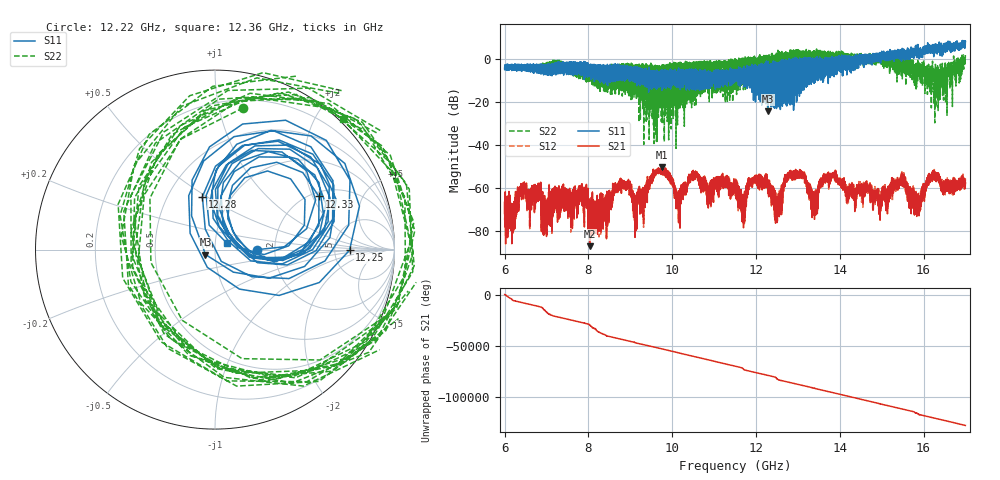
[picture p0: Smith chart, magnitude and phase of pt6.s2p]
#  HZ  S  RI  R  50.00
! Rohde & Schwarz Vector Network Analyzer
! Rohde-Schwarz,ZNA67-2Port,1332450062101215,3.01
! Created: UTC 10/26/2026, 4:08:16 PM
! freq[Hz]  re:S11  im:S11  re:S21  im:S21  re:S12  im:S12  re:S22  im:S22
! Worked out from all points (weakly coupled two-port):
!   11001 points, 6 GHz to 17 GHz, reference 50 ohm
!   highest |S21| = -50.49 dB at 9.754 GHz (marker M1); lowest = -87.1 dB at 8.03 GHz (marker M2)
!   lowest |S11| = -24.5 dB at 12.29 GHz (marker M3), VSWR 1.13, Z = 44.9 - j2.46 ohm
!   |S11| at or under -10 dB: 9.587688 GHz to 9.592044 GHz (4.356 MHz wide, 0.0454 % of centre); 10.61285 GHz to 10.61708 GHz (4.236 MHz wide, 0.0399 % of centre); 11.13694 GHz to 11.14101 GHz (4.071 MHz wide, 0.0365 % of centre) (the widest 3 of 393)
!   |S22| runs from -41.7 to 4.4 dB; largest |S21 - S12| = 0.00084
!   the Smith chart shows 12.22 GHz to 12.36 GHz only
!   S11 on the Smith chart (normalised r, x): 12.22 GHz: 1.61, -0.00; 12.25 GHz: 6.98, -0.12; 12.28 GHz: 0.74, +0.48; 12.33 GHz: 2.18, +2.24; 12.36 GHz: 1.14, +0.08
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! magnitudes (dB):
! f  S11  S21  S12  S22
! 6 GHz  -4.8  -66.5  -66.5  -4.6
! 7.834 GHz  -1.8  -62.3  -62.1  -3.6
! 8.03 GHz  -4.8  -87.1  -80.0  -5.0
! 8.784 GHz  -8.2  -57.0  -57.0  -11.2
! 9.125 GHz  -7.7  -71.4  -73.0  -9.5
! 9.667 GHz  -6.6  -53.4  -53.4  -4.1
! 9.754 GHz  -11.4  -50.5  -50.6  -16.2
! 10.13 GHz  -10.2  -63.0  -63.1  -4.0
! 10.53 GHz  -11.6  -54.5  -54.5  -5.5
! 11.5 GHz  -9.7  -59.4  -58.9  -3.0
! 12.22 GHz  -12.7  -56.2  -55.9  -1.9
! 12.25 GHz  -2.5  -59.0  -58.5  -5.0
! 12.28 GHz  -10.4  -56.9  -57.0  0.9
! 12.29 GHz  -24.5  -61.3  -60.2  0.9
! 12.33 GHz  -3.7  -58.6  -58.5  -6.4
! 12.36 GHz  -22.5  -60.6  -59.8  0.1
! 13.02 GHz  -1.3  -52.8  -52.8  -1.3
! 13.33 GHz  -1.0  -61.6  -60.7  -2.4
! 13.86 GHz  -6.5  -54.4  -54.7  1.1
! 15.17 GHz  2.7  -59.9  -59.5  -1.0
! 16.3 GHz  5.8  -54.3  -55.3  -4.5
! 17 GHz  7.9  -57.6  -56.7  1.1
